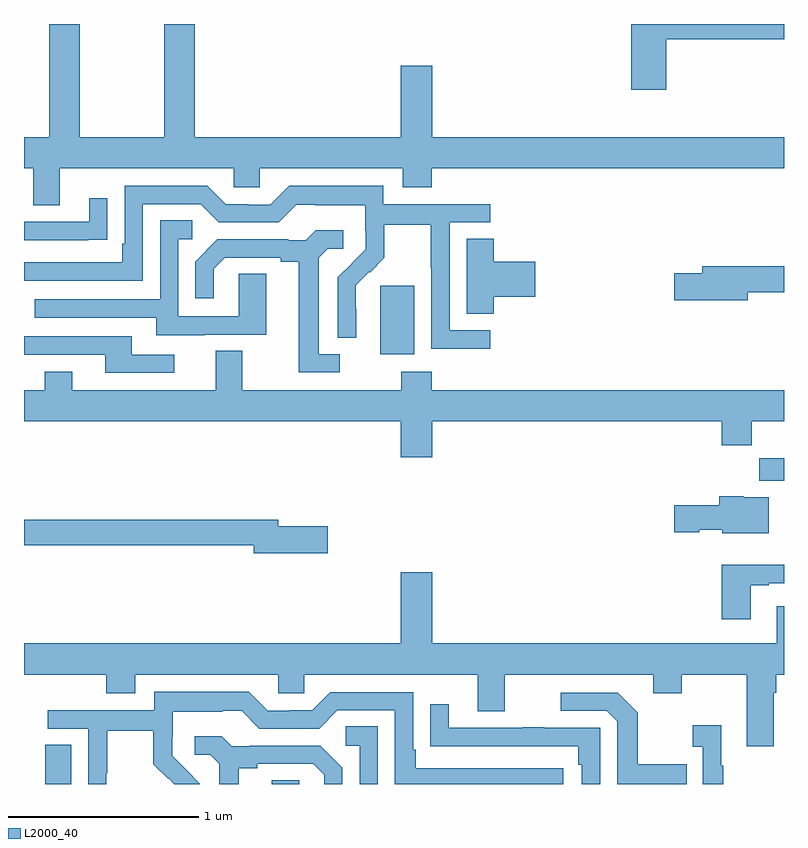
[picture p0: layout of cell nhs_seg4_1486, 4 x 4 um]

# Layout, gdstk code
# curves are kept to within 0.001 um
import gdstk
lib = gdstk.Library(unit=1e-6, precision=1e-09)
def R(c, l, rs):  # rectangles x0, y0, x1, y1
    for r in rs: c.add(gdstk.rectangle(r[:2], r[2:], *l))
def P(c, l, *ps):  # polygons
    for p in ps: c.add(gdstk.Polygon(p, *l))
L2000_40 = (2000, 40)

nhs_seg4_1486 = lib.new_cell('nhs_seg4_1486')
R(nhs_seg4_1486, L2000_40, [(187.111,806.9,187.249,807.107), (188.303,806.9,188.448,806.921), (190.87,808.496,191,808.615), (188.876,809.162,189.055,809.523)])
P(nhs_seg4_1486, L2000_40, [(190.379,810.82),(191,810.82),(191,810.9),(190.196,810.9),(190.196,810.555),(190.379,810.555)],
  [(187.189,810.14),(188.103,810.14),(188.103,810.042),(188.241,810.042),(188.241,810.14),(188.993,810.14),(188.993,810.041),(189.146,810.041),(189.146,810.14),(191,810.14),(191,810.304),(189.148,810.304),(189.148,810.679),(188.984,810.679),(188.984,810.304),(187.898,810.304),(187.898,810.9),(187.738,810.9),(187.738,810.304),(187.293,810.304),(187.293,810.9),(187.133,810.9),(187.133,810.304),(187,810.304),(187,810.14),(187.049,810.14),(187.049,809.946),(187.189,809.946)],
  [(189.454,809.289),(189.24,809.289),(189.24,809.856),(189.454,809.856),(189.454,809.952),(188.892,809.952),(188.892,810.049),(188.395,810.049),(188.295,809.949),(188.18,809.949),(188.18,809.952),(188.061,809.952),(187.965,810.048),(187.53,810.048),(187.53,809.743),(187.517,809.743),(187.517,809.646),(187,809.646),(187,809.55),(187.626,809.55),(187.626,809.952),(187.929,809.952),(188.025,809.856),(188.34,809.856),(188.433,809.949),(188.533,809.949),(188.533,809.945),(188.796,809.945),(188.796,809.811),(188.798,809.811),(188.798,809.714),(188.652,809.566),(188.652,809.248),(188.748,809.248),(188.747,809.525),(188.817,809.595),(188.82,809.592),(188.897,809.669),(188.897,809.844),(189.142,809.844),(189.142,809.62),(189.144,809.62),(189.144,809.191),(189.454,809.191)],
  [(187.337,809.764),(187.439,809.764),(187.439,809.983),(187.343,809.983),(187.343,809.859),(187,809.859),(187,809.763),(187.337,809.763)],
  [(187.951,809.265),(188.275,809.265),(188.275,809.585),(188.13,809.585),(188.13,809.361),(187.812,809.361),(187.812,809.766),(187.885,809.766),(187.885,809.867),(187.716,809.867),(187.716,809.451),(187.057,809.451),(187.057,809.355),(187.697,809.355),(187.697,809.261),(187.951,809.261)],
  [(188.662,809.163),(188.551,809.163),(188.551,809.671),(188.598,809.718),(188.68,809.718),(188.68,809.815),(188.536,809.815),(188.484,809.763),(188.39,809.763),(188.39,809.766),(188.018,809.766),(187.902,809.65),(187.902,809.457),(187.999,809.457),(187.999,809.613),(188.056,809.67),(188.351,809.67),(188.351,809.648),(188.447,809.648),(188.447,809.067),(188.662,809.067)],
  [(189.473,809.465),(189.691,809.465),(189.691,809.648),(189.473,809.648),(189.473,809.771),(189.329,809.771),(189.329,809.374),(189.473,809.374)],
  [(190.81,809.488),(191,809.488),(191,809.624),(190.571,809.624),(190.571,809.588),(190.422,809.588),(190.422,809.446),(190.81,809.446)],
  [(187.792,809.16),(187.567,809.16),(187.567,809.256),(187,809.256),(187,809.16),(187.427,809.16),(187.427,809.064),(187.792,809.064)],
  [(189.148,808.808),(190.673,808.808),(190.673,808.684),(190.829,808.684),(190.829,808.808),(191,808.808),(191,808.972),(189.146,808.972),(189.146,809.071),(188.986,809.071),(188.986,808.972),(188.149,808.972),(188.149,809.18),(188.009,809.18),(188.009,808.972),(187.255,808.972),(187.255,809.071),(187.108,809.071),(187.108,808.972),(187,808.972),(187,808.808),(188.984,808.808),(188.984,808.62),(189.148,808.62)],
  [(190.921,808.408),(190.788,808.408),(190.788,808.414),(190.658,808.414),(190.658,808.368),(190.422,808.368),(190.422,808.226),(190.554,808.226),(190.554,808.238),(190.674,808.238),(190.674,808.22),(190.921,808.22)],
  [(188.599,808.256),(188.338,808.256),(188.338,808.292),(187,808.292),(187,808.156),(188.21,808.156),(188.21,808.114),(188.599,808.114)],
  [(190.825,807.945),(190.921,807.945),(190.921,807.957),(191,807.957),(191,808.053),(190.913,808.053),(190.913,808.054),(190.673,808.054),(190.673,807.768),(190.825,807.768)],
  [(190.945,807.38),(190.958,807.38),(190.958,807.476),(191,807.476),(191,807.835),(190.961,807.835),(190.961,807.64),(189.148,807.64),(189.148,808.015),(188.984,808.015),(188.984,807.64),(187,807.64),(187,807.476),(187.433,807.476),(187.433,807.377),(187.585,807.377),(187.585,807.476),(188.337,807.476),(188.337,807.378),(188.475,807.378),(188.475,807.476),(189.389,807.476),(189.389,807.282),(189.529,807.282),(189.529,807.476),(190.313,807.476),(190.313,807.377),(190.461,807.377),(190.461,807.476),(190.805,807.476),(190.805,807.099),(190.945,807.099)],
  [(187.434,806.956),(187.437,806.956),(187.437,807.18),(187.681,807.18),(187.681,807.005),(187.758,806.928),(187.761,806.931),(187.792,806.9),(187.926,806.9),(187.926,806.902),(187.853,806.975),(187.854,806.976),(187.78,807.05),(187.78,807.147),(187.782,807.147),(187.782,807.281),(188.045,807.281),(188.045,807.285),(188.145,807.285),(188.238,807.192),(188.553,807.192),(188.649,807.288),(188.952,807.288),(188.952,806.9),(189.838,806.9),(189.838,806.982),(189.061,806.982),(189.061,807.079),(189.048,807.079),(189.048,807.384),(188.613,807.384),(188.517,807.288),(188.399,807.288),(188.399,807.285),(188.283,807.285),(188.183,807.385),(187.686,807.385),(187.686,807.288),(187.125,807.288),(187.125,807.192),(187.338,807.192),(187.338,806.9),(187.434,806.9)],
  [(190.487,807.003),(190.231,807.003),(190.231,807.275),(190.125,807.381),(189.825,807.381),(189.825,807.285),(190.068,807.285),(190.122,807.231),(190.122,806.9),(190.487,806.9)],
  [(190.032,807.195),(189.737,807.195),(189.737,807.2),(189.625,807.2),(189.625,807.195),(189.235,807.195),(189.235,807.319),(189.139,807.319),(189.139,807.1),(189.241,807.1),(189.241,807.099),(189.916,807.099),(189.916,807.002),(189.936,807.002),(189.936,806.9),(190.032,806.9)],
  [(190.681,806.995),(190.669,806.995),(190.669,807.208),(190.521,807.208),(190.521,807.095),(190.572,807.095),(190.572,806.9),(190.681,806.9)],
  [(188.862,807.203),(188.694,807.203),(188.694,807.102),(188.766,807.102),(188.766,806.9),(188.862,806.9)],
  [(188.131,806.984),(188.227,806.984),(188.227,807.006),(188.522,807.006),(188.579,806.949),(188.579,806.9),(188.676,806.9),(188.676,806.986),(188.56,807.102),(188.188,807.102),(188.188,807.099),(188.094,807.099),(188.042,807.151),(187.899,807.151),(187.899,807.054),(187.98,807.054),(188.027,807.007),(188.027,806.9),(188.131,806.9)])

lib.write_gds('nhs_seg4_1486.gds')
